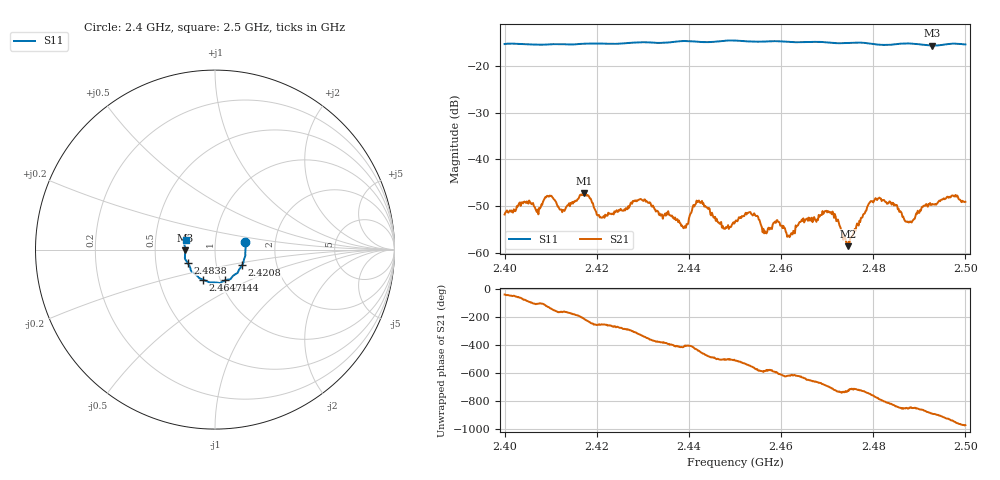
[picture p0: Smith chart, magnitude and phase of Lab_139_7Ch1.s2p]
# Hz S RI R 50
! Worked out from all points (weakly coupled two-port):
!   601 points, 2.4 GHz to 2.5 GHz, reference 50 ohm
!   highest |S21| = -47.24 dB at 2.4173 GHz (marker M1); lowest = -58.6 dB at 2.4745 GHz (marker M2)
!   lowest |S11| = -15.6 dB at 2.4928 GHz (marker M3), VSWR 1.40, Z = 35.8 - j0.351 ohm
!   |S11| at or under -10 dB: start of sweep to end of sweep
!   S12 and S22 are empty: the file has one direction only
!   S11 on the Smith chart (normalised r, x): 2.4 GHz: 1.40, +0.12; 2.4208 GHz: 1.33, -0.24; 2.444 GHz: 1.06, -0.37; 2.4647 GHz: 0.83, -0.29; 2.4838 GHz: 0.73, -0.11; 2.5 GHz: 0.72, +0.08
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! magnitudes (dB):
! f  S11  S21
! 2.4 GHz  -15.3  -51.8
! 2.4167 GHz  -15.2  -47.7
! 2.4173 GHz  -15.2  -47.2
! 2.4208 GHz  -15.2  -52.4
! 2.4293 GHz  -14.9  -48.5
! 2.4333 GHz  -15.0  -51.2
! 2.4388 GHz  -14.6  -54.8
! 2.4417 GHz  -14.8  -48.8
! 2.444 GHz  -14.9  -50.3
! 2.45 GHz  -14.5  -53.5
! 2.4532 GHz  -14.7  -51.3
! 2.4618 GHz  -14.8  -56.7
! 2.4647 GHz  -14.9  -53.2
! 2.4667 GHz  -14.8  -52.5
! 2.4708 GHz  -15.0  -51.4
! 2.4745 GHz  -15.0  -58.6
! 2.4793 GHz  -15.2  -49.1
! 2.4833 GHz  -15.5  -49.4
! 2.4838 GHz  -15.4  -49.3
! 2.4878 GHz  -15.2  -53.5
! 2.4928 GHz  -15.6  -49.6
! 2.5 GHz  -15.4  -49.1
